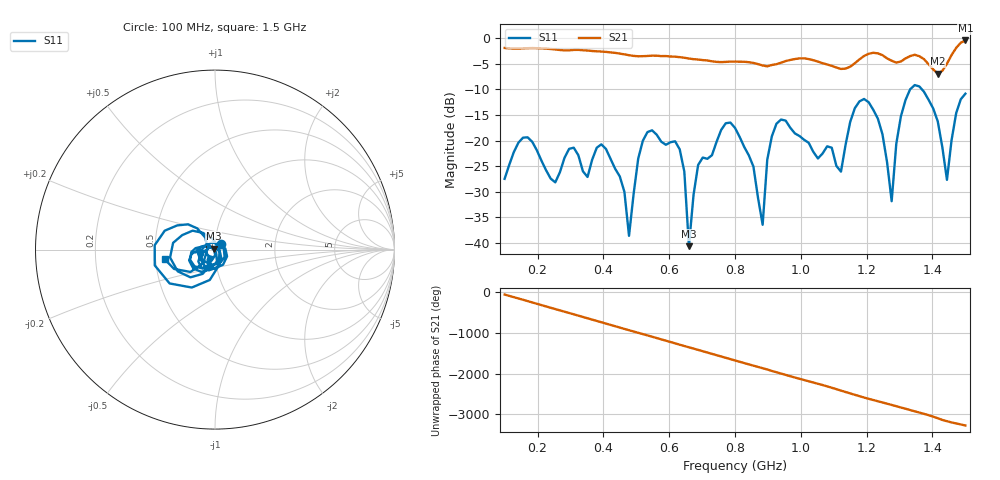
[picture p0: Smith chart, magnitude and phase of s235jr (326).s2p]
! NanoVNA-App
! Date: 2025-09-25 15:06:42
! Start: 100MHz Stop: 1,5GHz Points: 101
! S-Parameter data: F S11 S21 S12 S22
# Hz S RI R 50
!  Frequency  S11_Real  S11_Imag  S21_Real  S21_Imag  S12_Real  S12_Imag  S22_Real  S22_Imag
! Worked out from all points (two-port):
!   101 points, 100 MHz to 1.5 GHz, reference 50 ohm
!   highest |S21| = -0.49 dB at 1.5 GHz (marker M1); lowest = -7.0 dB at 1.416 GHz (marker M2)
!   |S21| within 3 dB of the highest: start of sweep to 490.9 MHz; 1.193 GHz to 1.251 GHz (57.96 MHz wide, 4.74 % of centre) (the widest 2 of 5)
!   lowest |S11| = -40.6 dB at 660 MHz (marker M3), VSWR 1.02, Z = 49.3 + j0.59 ohm
!   |S11| at or under -10 dB: start of sweep to 1.332 GHz; 1.367 GHz to end of sweep
!   S12 and S22 are empty: the file has one direction only
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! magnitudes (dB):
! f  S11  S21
! 100 MHz  -27.5  -2.0
! 156 MHz  -19.4  -2.0
! 338 MHz  -26.0  -2.4
! 408 MHz  -21.6  -2.7
! 478 MHz  -38.6  -3.4
! 520 MHz  -20.0  -3.6
! 576 MHz  -20.2  -3.5
! 632 MHz  -21.7  -3.7
! 660 MHz  -40.6  -4.0
! 688 MHz  -24.8  -4.2
! 800 MHz  -17.5  -4.6
! 884 MHz  -36.4  -5.4
! 926 MHz  -16.7  -5.1
! 1.038 GHz  -22.2  -4.3
! 1.122 GHz  -26.1  -6.0
! 1.192 GHz  -11.9  -3.5
! 1.248 GHz  -18.8  -3.4
! 1.276 GHz  -31.8  -4.4
! 1.332 GHz  -10.0  -3.5
! 1.416 GHz  -16.3  -7.0
! 1.444 GHz  -27.7  -5.0
! 1.5 GHz  -10.9  -0.5
